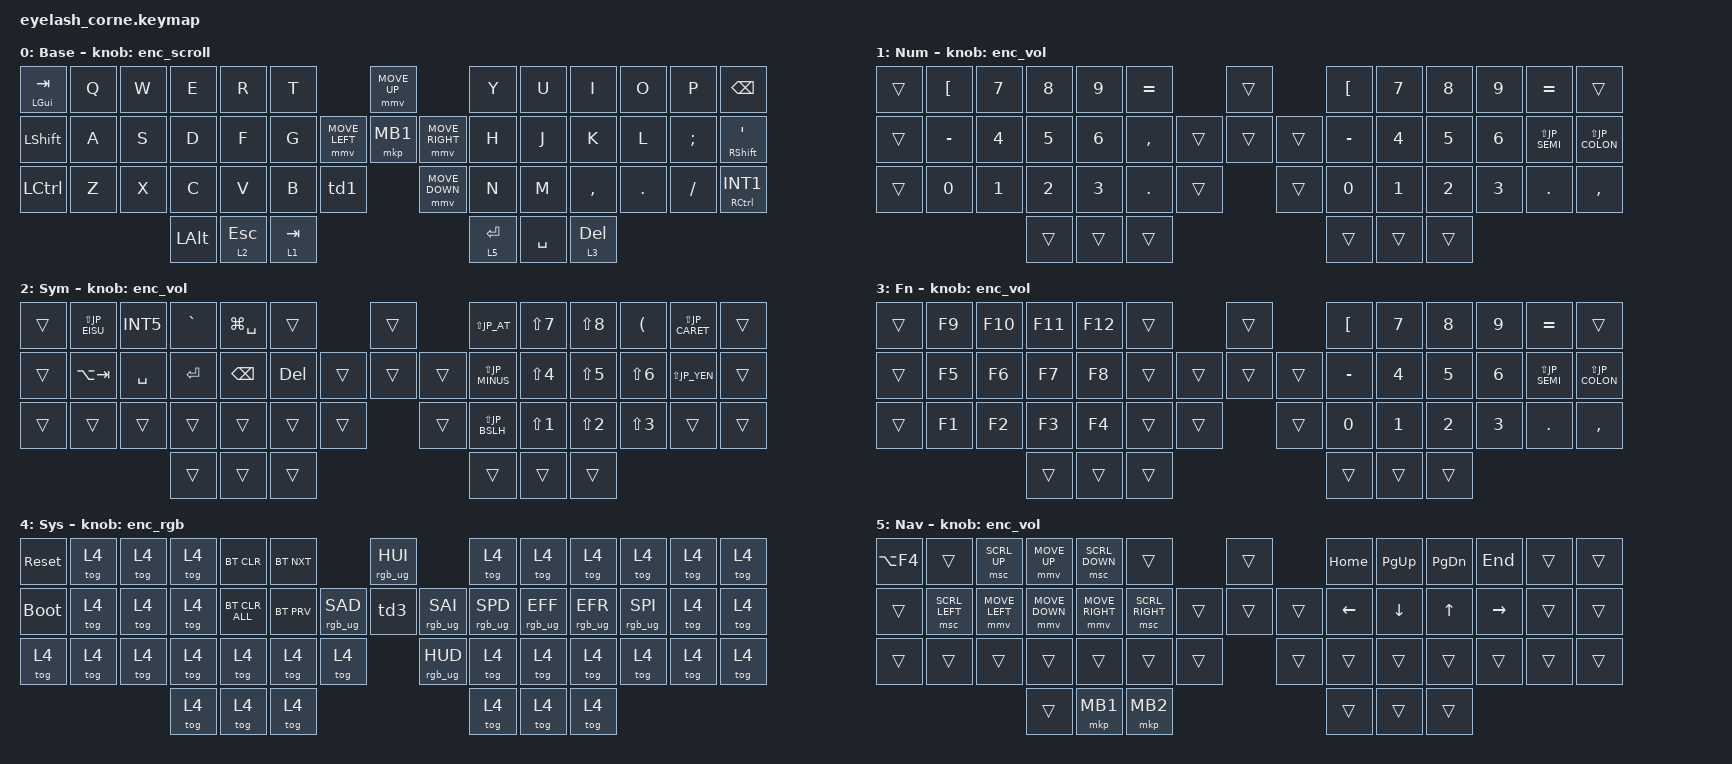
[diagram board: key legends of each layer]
#define ZMK_POINTING_DEFAULT_MOVE_VAL 1200  // 600
#define ZMK_POINTING_DEFAULT_SCRL_VAL 90   // 10

#include <input/processors.dtsi>
#include <behaviors.dtsi>
#include <dt-bindings/zmk/bt.h>
#include <dt-bindings/zmk/keys.h>
#include <dt-bindings/zmk/outputs.h>
#include <dt-bindings/zmk/pointing.h>
#include <dt-bindings/zmk/rgb.h>

// The following are the same as US ANSI and are just included for convenience
// DOT
// COMMA
// FSLH
// QUES
// MINUS
// SEMICOLON
// GT
// LT
// N0 - N1

#define JP_DOT   DOT               // .
#define JP_COMMA COMMA             // ,
#define JP_FSLH  FSLH              // /
#define JP_QUES  LS(JP_FSLH)       // ?
#define JP_MINUS MINUS             // -
#define JP_SEMI  SEMICOLON         // ;
#define JP_GT    LS(JP_DOT)        // >
#define JP_LT    LS(JP_COMMA)      // <
#define JP_ZKHK  GRAVE             // 半角/全角
#define JP_AT    LEFT_BRACKET      // @
#define JP_EISU  CAPS              // 英数
#define JP_CAPS  LS(JP_EISU)       // Caps Lock
#define JP_CARET EQUAL             // ^
#define JP_COLON SINGLE_QUOTE      // :
#define JP_EQUAL LS(JP_MINUS)      // =
#define JP_GRAVE LS(JP_AT)         // `
#define JP_BSLH  INT1              // bkslsh does not work well for some reason (must disable NKRO!!!)
#define JP_KANA  INT2              // かな
#define JP_YEN   INT3              // ¥
#define JP_HENK  INT4              // Henkan   (変換)
#define JP_MHEN  INT5              // Muhenkan (無変換)
#define JP_RBKT  BACKSLASH         // ]
#define JP_LBKT  RIGHT_BRACKET     // [
#define JP_RPAR  LEFT_PARENTHESIS  // )
#define JP_RBRC  LS(JP_RBKT)       // }
#define JP_LBRC  LS(JP_LBKT)       // {
#define JP_EXCL  LS(N1)            // !
#define JP_DQT   LS(N2)            // "
#define JP_HASH  LS(N3)            // #
#define JP_DLLR  LS(N4)            // $
#define JP_PERC  LS(N5)            // %
#define JP_AMPS  LS(N6)            // &
#define JP_SQT   LS(N7)            // '
#define JP_LPAR  LS(N8)            // (
#define JP_RPRN  LS(N9)            // )
#define JP_PIPE  LS(JP_YEN)        // |
#define JP_PLUS  LS(JP_SEMI)       // +
#define JP_STAR  LS(JP_COLON)      // *
#define JP_TILDE LS(JP_CARET)      // ~
#define JP_UNDER LS(JP_BSLH)       // _

#define U_MS_UP &mmv MOVE_UP
#define U_MS_DOWN &mmv MOVE_DOWN
#define U_MS_LEFT &mmv MOVE_LEFT
#define U_MS_RIGHT &mmv MOVE_RIGHT

&soft_off {
	hold-time-ms = <3000>;
};

&lt {
	tapping-term-ms = <150>;
	flavor = "balanced";
	quick-tap-ms = <175>;
};

/ {
	behaviors {
		td0: td0 {
			compatible = "zmk,behavior-tap-dance";
			display-name = "Shift/Caps Lock Tap Dance";
			#binding-cells = <0>;
			bindings = <&kp LEFT_SHIFT>, <&kp JP_CAPS>;
		};

		td1: td1 {
			compatible = "zmk,behavior-tap-dance";
			display-name = "command palette (windows) and toggle layer 4";
			#binding-cells = <0>;
			bindings = <&kp LG(LA(SPACE))>, <&tog 4>;
		};

		td2: td2 {
			compatible = "zmk,behavior-tap-dance";
			display-name = "alt tab + toggle 4";
			#binding-cells = <0>;
			bindings = <&kp LA(TAB)>, <&tog 4>;
		};

		td3: td3 {
			compatible = "zmk,behavior-tap-dance";
			display-name = "rgb + toggle 4";
			#binding-cells = <0>;
			bindings = <&rgb_ug RGB_TOG>, <&tog 4>;
		};

		enc_vol: enc_vol {
			compatible = "zmk,behavior-sensor-rotate";
			#sensor-binding-cells = <0>;
			bindings = <&kp C_VOL_UP>, <&kp C_VOL_DN>;
		};

		enc_scroll: enc_scroll {
			compatible = "zmk,behavior-sensor-rotate";
			#sensor-binding-cells = <0>;
			bindings = <&msc SCRL_DOWN>, <&msc SCRL_UP>;
			tap-ms = <50>;
		};

		enc_rgb: enc_rgb {
			compatible = "zmk,behavior-sensor-rotate";
			#sensor-binding-cells = <0>;
			bindings = <&rgb_ug RGB_BRI>, <&rgb_ug RGB_BRD>;
		};

		enc_trans: enc_trans {
			compatible = "zmk,behavior-sensor-rotate";
			#sensor-binding-cells = <0>;
			bindings = <&trans>, <&trans>;
		};
	};

	combos {
		compatible = "zmk,combos";

		combo_softoff {
			timeout-ms = <50>;
			key-positions = <0 1 2>;
			bindings = <&soft_off>;
		};

		combo_lbrc {
			timeout-ms = <50>;
			require-prior-idle-ms = <150>;
			key-positions = <14 15>;
			bindings = <&kp JP_LBRC>;
		};

		combo_lbkt {
			timeout-ms = <50>;
			require-prior-idle-ms = <150>;
			key-positions = <15 16>;
			bindings = <&kp JP_LBKT>;
		};

		combo_lpar {
			timeout-ms = <50>;
			require-prior-idle-ms = <150>;
			key-positions = <16 17>;
			bindings = <&kp JP_LPAR>;
		};

		combo_tilde {
			timeout-ms = <50>;
			require-prior-idle-ms = <150>;
			key-positions = <14 17>;
			bindings = <&kp JP_TILDE>;
		};

		combo_lt {
			timeout-ms = <50>;
			require-prior-idle-ms = <150>;
			key-positions = <14 18>;
			bindings = <&kp JP_LT>;
		};

		combo_eq {
			timeout-ms = <50>;
			require-prior-idle-ms = <150>;
			key-positions = <15 17>;
			bindings = <&kp JP_EQUAL>;
		};

		combo_rbrc {
			timeout-ms = <50>;
			require-prior-idle-ms = <150>;
			key-positions = <25 26>;
			bindings = <&kp JP_RBRC>;
		};

		combo_rbkt {
			timeout-ms = <50>;
			require-prior-idle-ms = <150>;
			key-positions = <24 25>;
			bindings = <&kp JP_RBKT>;
		};

		combo_rpar {
			timeout-ms = <50>;
			require-prior-idle-ms = <150>;
			key-positions = <23 24>;
			bindings = <&kp JP_RPAR>;
		};

		combo_und {
			timeout-ms = <50>;
			require-prior-idle-ms = <150>;
			key-positions = <23 26>;
			bindings = <&kp JP_UNDER>;
		};

		combo_gt {
			timeout-ms = <50>;
			require-prior-idle-ms = <150>;
			key-positions = <22 26>;
			bindings = <&kp JP_GT>;
		};

		combo_dash {
			timeout-ms = <50>;
			require-prior-idle-ms = <150>;
			key-positions = <22 23>;
			bindings = <&kp JP_MINUS>;
		};

		combo_dquo {
			timeout-ms = <50>;
			require-prior-idle-ms = <150>;
			key-positions = <23 25>;
			bindings = <&kp JP_DQT>;
		};
	};

	//  0  1  2  3	4  5           6      7  8  9 10 11 12
	// 13 14 15 16 17 18       19 20 21  22 23 24 25 26 27
	// 28 29 30 31 32 33  34      35     36 37 38 39 40 41
	//          42 43 44                 45 46 47
	keymap {
		compatible = "zmk,keymap";

		L0 {
			display-name = "Base";
			// dts-format off
			bindings = <
&mt LGUI TAB &kp Q  &kp W  &kp E     &kp R     &kp T                    U_MS_UP               &kp Y        &kp U     &kp I         &kp O       &kp P        &kp BSPC
&kp LSHFT    &kp A  &kp S  &kp D     &kp F     &kp G          U_MS_LEFT &mkp MB1  U_MS_RIGHT  &kp H        &kp J     &kp K         &kp L       &kp JP_SEMI  &mt RSHFT JP_COLON
&kp LCTRL    &kp Z  &kp X  &kp C     &kp V     &kp B     &td1           U_MS_DOWN             &kp N        &kp M     &kp JP_COMMA  &kp JP_DOT  &kp JP_FSLH  &mt RCTRL JP_BSLH
                           &kp LALT  &lt 2 ESC &lt 1 TAB                                      &lt 5 ENTER  &kp SPACE &lt 3 DEL
			>;
			// dts-format on
			sensor-bindings = <&enc_scroll>;
		};

		L1 {
			display-name = "Num";
			// dts-format off
			bindings = <
&trans     &kp JP_AT     &kp N7  &kp N8  &kp N9  &kp JP_CARET                 &trans          &kp JP_AT     &kp N7  &kp N8  &kp N9  &kp JP_CARET &trans
&trans     &kp JP_MINUS  &kp N4  &kp N5  &kp N6  &kp JP_COMMA         &trans  &trans  &trans  &kp JP_MINUS  &kp N4  &kp N5  &kp N6  &kp JP_PLUS  &kp JP_STAR
&trans     &kp N0        &kp N1  &kp N2  &kp N3  &kp JP_DOT   &trans          &trans          &kp N0        &kp N1  &kp N2  &kp N3  &kp JP_DOT   &kp JP_COMMA
                                 &trans  &trans  &trans                                       &trans        &trans     &trans
			>;
			// dts-format on
			sensor-bindings = <&enc_vol>;
		};

		L2 {
			display-name = "Sym";
			// dts-format off
			bindings = <
&trans &kp JP_CAPS  &kp JP_MHEN  &kp JP_ZKHK  &kp LG(SPACE)  &trans                 &trans          &kp JP_GRAVE  &kp JP_SQT   &kp JP_LPAR  &kp JP_RPAR  &kp JP_TILDE  &trans
&trans &kp LA(TAB)  &kp SPACE    &kp ENTER    &kp BSPC       &kp DEL        &trans  &trans  &trans  &kp JP_EQUAL  &kp JP_DLLR  &kp JP_PERC  &kp JP_AMPS  &kp JP_PIPE   &trans
&trans &trans       &trans       &trans       &trans         &trans  &trans         &trans          &kp JP_UNDER  &kp JP_EXCL  &kp JP_DQT   &kp JP_HASH  &trans        &trans
                                 &trans       &trans         &trans                                 &trans        &trans       &trans
			>;
			// dts-format on
			sensor-bindings = <&enc_vol>;
		};

		L3 {
			display-name = "Fn";
			// dts-format off
			bindings = <
&trans   &kp F9   &kp F10  &kp F11  &kp F12  &trans                 &trans          &kp JP_AT    &kp N7  &kp N8  &kp N9  &kp JP_CARET  &trans     
&trans   &kp F5   &kp F6   &kp F7   &kp F8   &trans         &trans  &trans  &trans  &kp JP_MINUS &kp N4  &kp N5  &kp N6  &kp JP_PLUS   &kp JP_STAR  
&trans   &kp F1   &kp F2   &kp F3   &kp F4   &trans  &trans         &trans          &kp N0       &kp N1  &kp N2  &kp N3  &kp JP_DOT    &kp JP_COMMA 
                           &trans   &trans   &trans                                 &trans       &trans     &trans
			>;
			// dts-format on
			sensor-bindings = <&enc_vol>;
		};

		L4 {
			display-name = "Sys";
			// dts-format off
			bindings = <
&sys_reset   &tog 4  &tog 4  &tog 4  &bt BT_CLR      &bt BT_NXT                         &rgb_ug RGB_HUI                   &tog 4           &tog 4           &tog 4           &tog 4           &tog 4  &tog 4
&bootloader  &tog 4  &tog 4  &tog 4  &bt BT_CLR_ALL  &bt BT_PRV        &rgb_ug RGB_SAD  &td3             &rgb_ug RGB_SAI  &rgb_ug RGB_SPD  &rgb_ug RGB_EFF  &rgb_ug RGB_EFR  &rgb_ug RGB_SPI  &tog 4  &tog 4
&tog 4       &tog 4  &tog 4  &tog 4  &tog 4          &tog 4     &tog 4                  &rgb_ug RGB_HUD                   &tog 4           &tog 4           &tog 4           &tog 4           &tog 4  &tog 4 
                             &tog 4  &tog 4          &tog 4                                                               &tog 4           &tog 4           &tog 4
			>;
			// dts-format on
			sensor-bindings = <&enc_rgb>;
		};

		L5 {
			display-name = "Nav";
			// dts-format off
			bindings = <
&kp LA(F4)  &trans          &msc SCRL_UP U_MS_UP    &msc SCRL_DOWN  &trans                         &trans          &kp HOME  &kp PG_UP  &kp PG_DN  &kp END    &trans  &trans
&trans      &msc SCRL_LEFT  U_MS_LEFT    U_MS_DOWN  U_MS_RIGHT      &msc SCRL_RIGHT        &trans  &trans  &trans  &kp LEFT  &kp DOWN   &kp UP     &kp RIGHT  &trans  &trans
&trans      &trans          &trans       &trans     &trans          &trans          &trans         &trans          &trans    &trans     &trans     &trans     &trans  &trans
                                         &trans     &mkp MB1        &mkp MB2                                       &trans    &trans     &trans
			>;
			// dts-format on
			sensor-bindings = <&enc_vol>;
		};
	};
};
